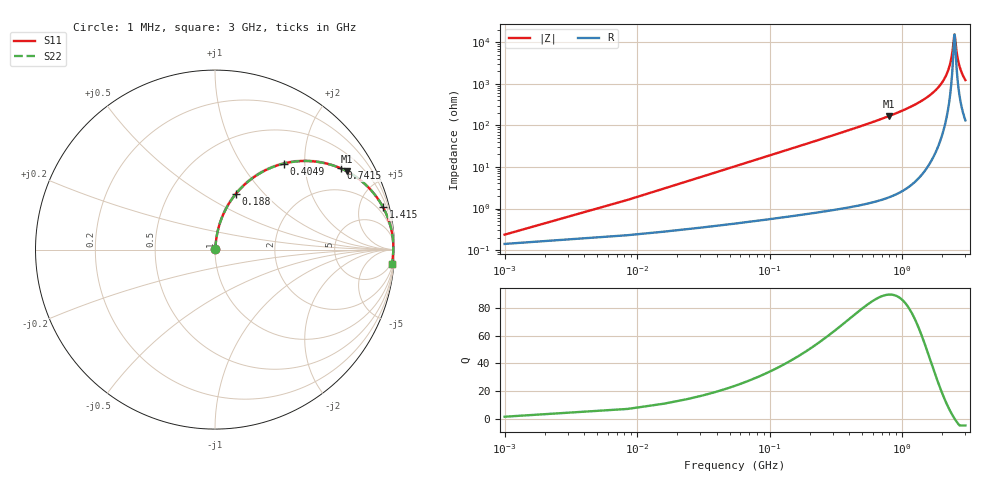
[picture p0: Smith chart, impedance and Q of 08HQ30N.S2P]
! Coilcraft 0805HQ-30N Chip Inductor
! 19 June 2002
# MHZ S MA R 50
!Freq  MagS11  AngS11  MagS21  AngS21  MagS12  AngS12  MagS22  AngS22
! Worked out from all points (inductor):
!   402 points, 1 MHz to 3 GHz, reference 50 ohm
!   read as one part in series: L = 30 nH near 15.96 MHz
!   highest Q = 90 at 793.9 MHz (marker M1), where L = 33.4 nH
!   self-resonance near 2.477 GHz
!   S11 on the Smith chart (normalised r, x): 1 MHz: 1.00, +0.00; 188 MHz: 1.01, +0.71; 404.9 MHz: 1.02, +1.57; 741.5 MHz: 1.03, +3.07; 1.415 GHz: 1.13, +7.90; 3 GHz: 4, -24
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1  0.002349 53.1  0.9986 -0.1  0.9986 -0.1  0.002349 53.1
23.44  0.04412 83.4  0.9959 -2.5  0.9959 -2.5  0.04412 83.4
45.88  0.08594 82.4  0.9923 -4.9  0.9923 -4.9  0.08594 82.4
98.24  0.1815 77.8  0.978 -10.5  0.978 -10.5  0.1815 77.8
188  0.3336 69.3  0.9359 -19.5  0.9359 -19.5  0.3336 69.3
404.92  0.613 51.4  0.7817 -37.8  0.7817 -37.8  0.613 51.4
502.16  0.6981 45.0  0.7073 -44.3  0.7073 -44.3  0.6981 45.0
741.52  0.8336 32.9  0.5432 -56.5  0.5432 -56.5  0.8336 32.9
793.88  0.8534 30.8  0.5119 -58.6  0.5119 -58.6  0.8534 30.8
1003.32  0.9106 23.8  0.4028 -65.6  0.4028 -65.6  0.9106 23.8
1414.72  0.9655 14.2  0.2445 -74.9  0.2445 -74.9  0.9655 14.2
1504.48  0.972 12.5  0.2169 -76.4  0.2169 -76.4  0.972 12.5
2005.64  0.9909 5.2  0.09123 -81.6  0.09123 -81.6  0.9909 5.2
2274.92  0.9936 2.1  0.03768 -79.1  0.03768 -79.1  0.9936 2.1
2379.64  0.9937 1.0  0.01911 -70.3  0.01911 -70.3  0.9937 1.0
2469.4  0.9936 0.1  0.006857 -20.3  0.006857 -20.3  0.9936 0.1
2484.36  0.9935 -0.0  0.006485 1.5  0.006485 1.5  0.9935 -0.0
2506.8  0.9934 -0.2  0.007683 31.0  0.007683 31.0  0.9934 -0.2
2589.08  0.993 -1.0  0.01897 67.7  0.01897 67.7  0.993 -1.0
2678.84  0.9922 -1.8  0.03294 75.4  0.03294 75.4  0.9922 -1.8
2820.96  0.9907 -3.1  0.05462 78.6  0.05462 78.6  0.9907 -3.1
3000  0.9881 -4.6  0.08066 79.2  0.08066 79.2  0.9881 -4.6
